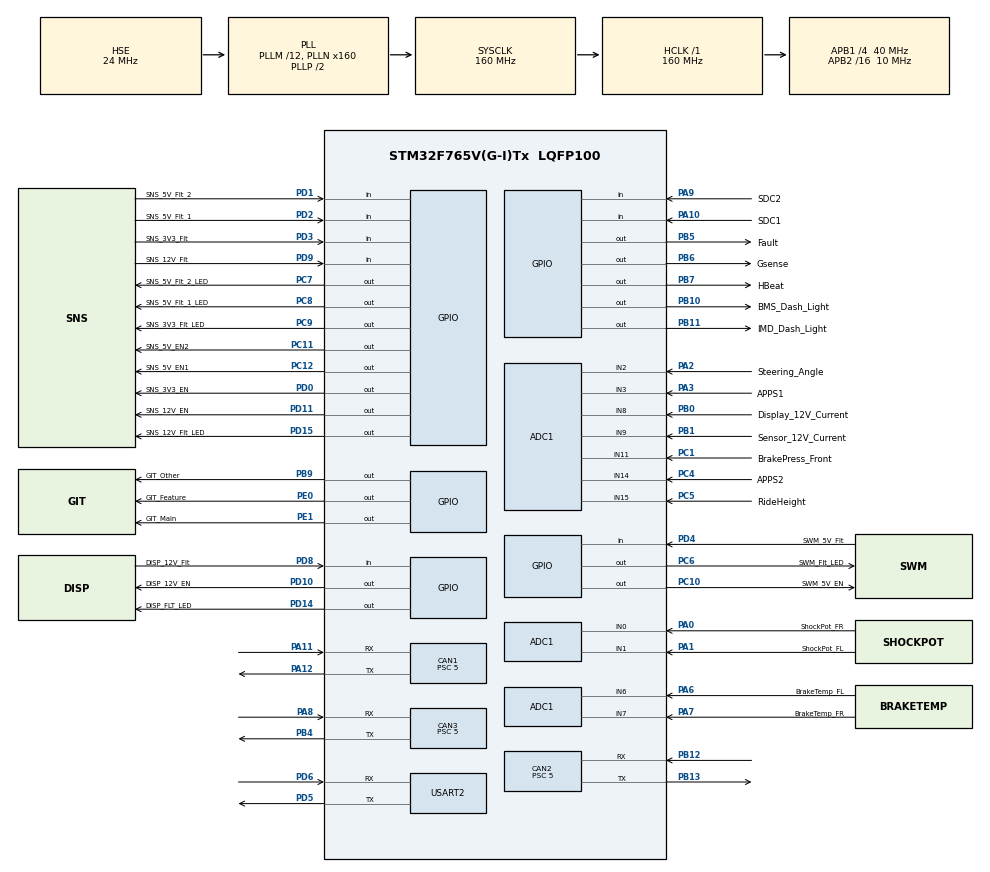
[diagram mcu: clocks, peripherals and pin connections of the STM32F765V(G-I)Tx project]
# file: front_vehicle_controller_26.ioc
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ADC1.Channel-10\#ChannelRegularConversion=ADC_CHANNEL_11
ADC1.Channel-11\#ChannelRegularConversion=ADC_CHANNEL_14
ADC1.Channel-12\#ChannelRegularConversion=ADC_CHANNEL_15
ADC1.Channel-2\#ChannelRegularConversion=ADC_CHANNEL_0
ADC1.Channel-3\#ChannelRegularConversion=ADC_CHANNEL_1
ADC1.Channel-4\#ChannelRegularConversion=ADC_CHANNEL_2
ADC1.Channel-5\#ChannelRegularConversion=ADC_CHANNEL_3
ADC1.Channel-6\#ChannelRegularConversion=ADC_CHANNEL_6
ADC1.Channel-7\#ChannelRegularConversion=ADC_CHANNEL_7
ADC1.Channel-8\#ChannelRegularConversion=ADC_CHANNEL_8
ADC1.Channel-9\#ChannelRegularConversion=ADC_CHANNEL_9
ADC1.ContinuousConvMode=ENABLE
ADC1.DMAContinuousRequests=ENABLE
ADC1.NbrOfConversion=11
ADC1.NbrOfConversionFlag=1
ADC1.Rank-10\#ChannelRegularConversion=9
ADC1.Rank-11\#ChannelRegularConversion=10
ADC1.Rank-12\#ChannelRegularConversion=11
ADC1.Rank-2\#ChannelRegularConversion=1
ADC1.Rank-3\#ChannelRegularConversion=2
ADC1.Rank-4\#ChannelRegularConversion=3
ADC1.Rank-5\#ChannelRegularConversion=4
ADC1.Rank-6\#ChannelRegularConversion=5
ADC1.Rank-7\#ChannelRegularConversion=6
ADC1.Rank-8\#ChannelRegularConversion=7
ADC1.Rank-9\#ChannelRegularConversion=8
ADC1.SamplingTime-10\#ChannelRegularConversion=ADC_SAMPLETIME_480CYCLES
ADC1.SamplingTime-11\#ChannelRegularConversion=ADC_SAMPLETIME_480CYCLES
ADC1.SamplingTime-12\#ChannelRegularConversion=ADC_SAMPLETIME_480CYCLES
ADC1.SamplingTime-2\#ChannelRegularConversion=ADC_SAMPLETIME_480CYCLES
ADC1.SamplingTime-3\#ChannelRegularConversion=ADC_SAMPLETIME_480CYCLES
ADC1.SamplingTime-4\#ChannelRegularConversion=ADC_SAMPLETIME_480CYCLES
ADC1.SamplingTime-5\#ChannelRegularConversion=ADC_SAMPLETIME_480CYCLES
ADC1.SamplingTime-6\#ChannelRegularConversion=ADC_SAMPLETIME_480CYCLES
ADC1.SamplingTime-7\#ChannelRegularConversion=ADC_SAMPLETIME_480CYCLES
ADC1.SamplingTime-8\#ChannelRegularConversion=ADC_SAMPLETIME_480CYCLES
ADC1.SamplingTime-9\#ChannelRegularConversion=ADC_SAMPLETIME_480CYCLES
ADC1.master=1
CAN1.BS1=CAN_BS1_6TQ
CAN1.CalculateBaudRate=1000000
CAN1.CalculateTimeBit=1000
CAN1.CalculateTimeQuantum=125.0
CAN1.Prescaler=5
CAN2.ABOM=ENABLE
CAN2.AWUM=ENABLE
CAN2.BS1=CAN_BS1_6TQ
CAN2.BS2=CAN_BS2_1TQ
CAN2.CalculateBaudRate=1000000
CAN2.CalculateTimeBit=1000
CAN2.CalculateTimeQuantum=125.0
CAN2.Prescaler=5
CAN3.ABOM=ENABLE
CAN3.AWUM=ENABLE
CAN3.BS1=CAN_BS1_6TQ
CAN3.CalculateBaudRate=1000000
CAN3.CalculateTimeBit=1000
CAN3.CalculateTimeQuantum=125.0
CAN3.Prescaler=5
CORTEX_M7.default_mode_Activation=1
Dma.ADC1.0.Direction=DMA_PERIPH_TO_MEMORY
Dma.ADC1.0.FIFOMode=DMA_FIFOMODE_DISABLE
Dma.ADC1.0.Instance=DMA2_Stream0
Dma.ADC1.0.MemDataAlignment=DMA_MDATAALIGN_HALFWORD
Dma.ADC1.0.MemInc=DMA_MINC_ENABLE
Dma.ADC1.0.Mode=DMA_CIRCULAR
Dma.ADC1.0.PeriphDataAlignment=DMA_PDATAALIGN_HALFWORD
Dma.ADC1.0.PeriphInc=DMA_PINC_DISABLE
Dma.ADC1.0.Priority=DMA_PRIORITY_LOW
Dma.Request0=ADC1
FREERTOS.Mutexes01=fvcDriveSensorsMutex,Static,fvcDriveSensorsMutexControlBlock,Available;driveSnapshotMutex,Static,driveSnapshotMutexControlBlock,Available
FREERTOS.Tasks01=idleTask,-3,256,idleTask_entry,Default,NULL,Static,idleTaskBuffer,idleTaskControlBlock;gcanTask,1,1024,gcan_buffer_task,Default,NULL,Static,gcanTaskBuffer,gcanTaskControlBlock;debugTask,-1,2048,debugTask_entry,Default,NULL,Static,debugTaskBuffer,debugTaskControlBlock;driveTask,2,2048,driveTask_entry,Default,NULL,Static,driveTaskBuffer,driveTaskControlBlock;faultTask,0,1024,faultTask_entry,Default,NULL,Static,faultTaskBuffer,faultTaskControlBlock;telemetryTask,1,2048,telemetryTask_entry,Default,NULL,Static,telemetryTaskBuffer,telemetryTaskControlBlock
FREERTOS.configENABLE_FPU=1
Mcu.Family=STM32F7
Mcu.Name=STM32F765V(G-I)Tx
Mcu.Package=LQFP100
NVIC.CAN1_RX0_IRQn=true\:5\:0\:false\:false\:true\:true\:true\:true\:true
NVIC.CAN1_RX1_IRQn=true\:5\:0\:false\:false\:true\:true\:true\:true\:true
NVIC.CAN1_TX_IRQn=true\:5\:0\:false\:false\:true\:true\:true\:true\:true
NVIC.CAN2_RX0_IRQn=true\:5\:0\:false\:false\:true\:true\:true\:true\:true
NVIC.CAN2_RX1_IRQn=true\:5\:0\:false\:false\:true\:true\:true\:true\:true
NVIC.CAN2_TX_IRQn=true\:5\:0\:false\:false\:true\:true\:true\:true\:true
NVIC.CAN3_RX0_IRQn=true\:5\:0\:false\:false\:true\:true\:true\:true\:true
NVIC.CAN3_RX1_IRQn=true\:5\:0\:false\:false\:true\:true\:true\:true\:true
NVIC.CAN3_TX_IRQn=true\:5\:0\:false\:false\:true\:true\:true\:true\:true
NVIC.DMA2_Stream0_IRQn=true\:5\:0\:false\:false\:true\:true\:false\:true\:true
NVIC.PriorityGroup=NVIC_PRIORITYGROUP_4
NVIC.TIM1_UP_TIM10_IRQn=true\:5\:0\:false\:false\:true\:true\:true\:true\:true
NVIC.TIM6_DAC_IRQn=true\:15\:0\:false\:false\:true\:false\:false\:true\:true
NVIC.TimeBase=TIM6_DAC_IRQn
NVIC.TimeBaseIP=TIM6
PA0/WKUP.GPIO_Label=ShockPot_FR
PA0/WKUP.Signal=ADCx_IN0
PA1.GPIO_Label=ShockPot_FL
PA1.Signal=ADCx_IN1
PA10.GPIO_Label=SDC1
PA10.Signal=GPIO_Input
PA11.Mode=CAN_Activate
PA11.Signal=CAN1_RX
PA12.Mode=CAN_Activate
PA12.Signal=CAN1_TX
PA13.Mode=Serial_Wire
PA13.Signal=SYS_JTMS-SWDIO
PA14.Mode=Serial_Wire
PA14.Signal=SYS_JTCK-SWCLK
PA2.GPIO_Label=Steering_Angle
PA2.Signal=ADCx_IN2
PA3.GPIO_Label=APPS1
PA3.Signal=ADCx_IN3
PA6.GPIO_Label=BrakeTemp_FL
PA6.Signal=ADCx_IN6
PA7.GPIO_Label=BrakeTemp_FR
PA7.Signal=ADCx_IN7
PA8.Mode=CAN_Activate
PA8.Signal=CAN3_RX
PA9.GPIO_Label=SDC2
PA9.Signal=GPIO_Input
PB0.GPIO_Label=Display_12V_Current
PB0.Signal=ADCx_IN8
PB1.GPIO_Label=Sensor_12V_Current
PB1.Signal=ADCx_IN9
PB10.GPIO_Label=BMS_Dash_Light
PB10.Signal=GPIO_Output
PB11.GPIO_Label=IMD_Dash_Light
PB11.Signal=GPIO_Output
PB12.Mode=CAN_Activate
PB12.Signal=CAN2_RX
PB13.Mode=CAN_Activate
PB13.Signal=CAN2_TX
PB4.Mode=CAN_Activate
PB4.Signal=CAN3_TX
PB5.GPIO_Label=Fault
PB5.Signal=GPIO_Output
PB6.GPIO_Label=Gsense
PB6.Signal=GPIO_Output
PB7.GPIO_Label=HBeat
PB7.Signal=GPIO_Output
PB9.GPIO_Label=GIT_Other
PB9.Signal=GPIO_Output
PC1.GPIO_Label=BrakePress_Front
PC1.Signal=ADCx_IN11
PC10.GPIO_Label=SWM_5V_EN
PC10.Signal=GPIO_Output
PC11.GPIO_Label=SNS_5V_EN2
PC11.Signal=GPIO_Output
PC12.GPIO_Label=SNS_5V_EN1
PC12.Signal=GPIO_Output
PC4.GPIO_Label=APPS2
PC4.Signal=ADCx_IN14
PC5.GPIO_Label=RideHeight
PC5.Signal=ADCx_IN15
PC6.GPIO_Label=SWM_Flt_LED
PC6.Signal=GPIO_Output
PC7.GPIO_Label=SNS_5V_Flt_2_LED
PC7.Signal=GPIO_Output
PC8.GPIO_Label=SNS_5V_Flt_1_LED
PC8.Signal=GPIO_Output
PC9.GPIO_Label=SNS_3V3_Flt_LED
PC9.Signal=GPIO_Output
PD0.GPIO_Label=SNS_3V3_EN
PD0.Signal=GPIO_Output
PD1.GPIO_Label=SNS_5V_Flt_2
PD1.Signal=GPIO_Input
PD10.GPIO_Label=DISP_12V_EN
PD10.Signal=GPIO_Output
PD11.GPIO_Label=SNS_12V_EN
PD11.Signal=GPIO_Output
PD14.GPIO_Label=DISP_FLT_LED
PD14.Signal=GPIO_Output
PD15.GPIO_Label=SNS_12V_Flt_LED
PD15.Signal=GPIO_Output
PD2.GPIO_Label=SNS_5V_Flt_1
PD2.Signal=GPIO_Input
PD3.GPIO_Label=SNS_3V3_Flt
PD3.Signal=GPIO_Input
PD4.GPIO_Label=SWM_5V_Flt
PD4.Signal=GPIO_Input
PD5.Mode=Asynchronous
PD5.Signal=USART2_TX
PD6.Mode=Asynchronous
PD6.Signal=USART2_RX
PD8.GPIO_Label=DISP_12V_Flt
PD8.Signal=GPIO_Input
PD9.GPIO_Label=SNS_12V_Flt
PD9.Signal=GPIO_Input
PE0.GPIO_Label=GIT_Feature
PE0.Signal=GPIO_Output
PE1.GPIO_Label=GIT_Main
PE1.Signal=GPIO_Output
PH0/OSC_IN.Mode=HSE-External-Clock-Source
PH0/OSC_IN.Signal=RCC_OSC_IN
PH1/OSC_OUT.Mode=HSE-External-Clock-Source
PH1/OSC_OUT.Signal=RCC_OSC_OUT
ProjectManager.HeapSize=0x200
ProjectManager.StackSize=0x400
ProjectManager.TargetToolchain=CMake
RCC.AHBFreq_Value=160000000
RCC.APB1CLKDivider=RCC_HCLK_DIV4
RCC.APB1Freq_Value=40000000
RCC.APB1TimFreq_Value=80000000
RCC.APB2CLKDivider=RCC_HCLK_DIV16
RCC.APB2Freq_Value=10000000
RCC.APB2TimFreq_Value=20000000
RCC.CortexFreq_Value=160000000
RCC.HCLKFreq_Value=160000000
RCC.HSE_VALUE=24000000
RCC.HSI_VALUE=16000000
RCC.LSE_VALUE=32768
RCC.PLLM=12
RCC.PLLN=160
RCC.PLLSourceVirtual=RCC_PLLSOURCE_HSE
RCC.SYSCLKFreq_VALUE=160000000
RCC.SYSCLKSource=RCC_SYSCLKSOURCE_PLLCLK
RCC.USBFreq_Value=160000000
RCC.VCOOutputFreq_Value=320000000
SH.ADCx_IN0.0=ADC1_IN0,IN0
SH.ADCx_IN1.0=ADC1_IN1,IN1
SH.ADCx_IN11.0=ADC1_IN11,IN11
SH.ADCx_IN14.0=ADC1_IN14,IN14
SH.ADCx_IN15.0=ADC1_IN15,IN15
SH.ADCx_IN2.0=ADC1_IN2,IN2
SH.ADCx_IN3.0=ADC1_IN3,IN3
SH.ADCx_IN6.0=ADC1_IN6,IN6
SH.ADCx_IN7.0=ADC1_IN7,IN7
SH.ADCx_IN8.0=ADC1_IN8,IN8
SH.ADCx_IN9.0=ADC1_IN9,IN9
USART2.VirtualMode-Asynchronous=VM_ASYNC
VP_FREERTOS_VS_CMSIS_V1.Mode=CMSIS_V1
VP_SYS_VS_tim6.Mode=TIM6
VP_TIM10_VS_ClockSourceINT.Mode=Enable_Timer
board=custom

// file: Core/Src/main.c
/* USER CODE BEGIN Header */
/**
  ******************************************************************************
  * @file           : main.c
  * @brief          : Main program body
  ******************************************************************************
  * @attention
  *
  * Copyright (c) 2025 STMicroelectronics.
  * All rights reserved.
  *
  * This software is licensed under terms that can be found in the LICENSE file
  * in the root directory of this software component.
  * If no LICENSE file comes with this software, it is provided AS-IS.
  *
  ******************************************************************************
  */
/* USER CODE END Header */
#include "main.h"
#include "cmsis_os.h"

/* USER CODE BEGIN Includes */
#include "fvc.h"
#include "GopherCAN.h"
#include "gopher_sense.h"
/* USER CODE END Includes */

ADC_HandleTypeDef hadc1;
DMA_HandleTypeDef hdma_adc1;

CAN_HandleTypeDef hcan1;
CAN_HandleTypeDef hcan2;
CAN_HandleTypeDef hcan3;

TIM_HandleTypeDef htim10;

UART_HandleTypeDef huart2;

osThreadId idleTaskHandle;
uint32_t idleTaskBuffer[ 256 ];
osStaticThreadDef_t idleTaskControlBlock;
osThreadId gcanTaskHandle;
uint32_t gcanTaskBuffer[ 1024 ];
osStaticThreadDef_t gcanTaskControlBlock;
osThreadId debugTaskHandle;
uint32_t debugTaskBuffer[ 2048 ];
osStaticThreadDef_t debugTaskControlBlock;
osThreadId driveTaskHandle;
uint32_t driveTaskBuffer[ 2048 ];
osStaticThreadDef_t driveTaskControlBlock;
osThreadId faultTaskHandle;
uint32_t faultTaskBuffer[ 1024 ];
osStaticThreadDef_t faultTaskControlBlock;
osThreadId telemetryTaskHandle;
uint32_t telemetryTaskBuffer[ 2048 ];
osStaticThreadDef_t telemetryTaskControlBlock;
osMutexId fvcDriveSensorsMutexHandle;
osStaticMutexDef_t fvcDriveSensorsMutexControlBlock;
osMutexId driveSnapshotMutexHandle;
osStaticMutexDef_t driveSnapshotMutexControlBlock;

void SystemClock_Config(void);
static void MPU_Config(void);
static void MX_GPIO_Init(void);
static void MX_DMA_Init(void);
static void MX_ADC1_Init(void);
static void MX_CAN2_Init(void);
static void MX_TIM10_Init(void);
static void MX_USART2_UART_Init(void);
static void MX_CAN1_Init(void);
static void MX_CAN3_Init(void);
void idleTask_entry(void const * argument);
void gcan_buffer_task(void const * argument);
void debugTask_entry(void const * argument);
void driveTask_entry(void const * argument);
void faultTask_entry(void const * argument);
void telemetryTask_entry(void const * argument);

int main(void)
{

  /* MPU Configuration--------------------------------------------------------*/
  MPU_Config();

  /* MCU Configuration--------------------------------------------------------*/

  /* Reset of all peripherals, Initializes the Flash interface and the Systick. */
  HAL_Init();

  /* Configure the system clock */
  SystemClock_Config();

  /* Initialize all configured peripherals */
  MX_GPIO_Init();
  MX_DMA_Init();
  MX_ADC1_Init();
  MX_CAN2_Init();
  MX_TIM10_Init();
  MX_USART2_UART_Init();
  MX_CAN1_Init();
  MX_CAN3_Init();
  /* USER CODE BEGIN 2 */
  init_fvc(&hcan1, &hcan2, &hcan3, &huart2);
  gsense_init(&hcan2, &hadc1, NULL, NULL, &htim10, Gsense_GPIO_Port, Gsense_Pin);
  /* USER CODE END 2 */

  /* Create the mutex(es) */
  /* definition and creation of fvcDriveSensorsMutex */
  osMutexStaticDef(fvcDriveSensorsMutex, &fvcDriveSensorsMutexControlBlock);
  fvcDriveSensorsMutexHandle = osMutexCreate(osMutex(fvcDriveSensorsMutex));

  /* definition and creation of driveSnapshotMutex */
  osMutexStaticDef(driveSnapshotMutex, &driveSnapshotMutexControlBlock);
  driveSnapshotMutexHandle = osMutexCreate(osMutex(driveSnapshotMutex));

  /* Create the thread(s) */
  /* definition and creation of idleTask */
  osThreadStaticDef(idleTask, idleTask_entry, osPriorityIdle, 0, 256, idleTaskBuffer, &idleTaskControlBlock);
  idleTaskHandle = osThreadCreate(osThread(idleTask), NULL);

  /* definition and creation of gcanTask */
  osThreadStaticDef(gcanTask, gcan_buffer_task, osPriorityAboveNormal, 0, 1024, gcanTaskBuffer, &gcanTaskControlBlock);
  gcanTaskHandle = osThreadCreate(osThread(gcanTask), NULL);

  /* definition and creation of debugTask */
  osThreadStaticDef(debugTask, debugTask_entry, osPriorityBelowNormal, 0, 2048, debugTaskBuffer, &debugTaskControlBlock);
  debugTaskHandle = osThreadCreate(osThread(debugTask), NULL);

  /* definition and creation of driveTask */
  osThreadStaticDef(driveTask, driveTask_entry, osPriorityHigh, 0, 2048, driveTaskBuffer, &driveTaskControlBlock);
  driveTaskHandle = osThreadCreate(osThread(driveTask), NULL);

  /* definition and creation of faultTask */
  osThreadStaticDef(faultTask, faultTask_entry, osPriorityNormal, 0, 1024, faultTaskBuffer, &faultTaskControlBlock);
  faultTaskHandle = osThreadCreate(osThread(faultTask), NULL);

  /* definition and creation of telemetryTask */
  osThreadStaticDef(telemetryTask, telemetryTask_entry, osPriorityAboveNormal, 0, 2048, telemetryTaskBuffer, &telemetryTaskControlBlock);
  telemetryTaskHandle = osThreadCreate(osThread(telemetryTask), NULL);

  /* Start scheduler */
  osKernelStart();

  /* We should never get here as control is now taken by the scheduler */

  /* Infinite loop */
  while (1)
  {

  }
}

void SystemClock_Config(void)
{
  RCC_OscInitTypeDef RCC_OscInitStruct = {0};
  RCC_ClkInitTypeDef RCC_ClkInitStruct = {0};

  /** Configure the main internal regulator output voltage
  */
  __HAL_RCC_PWR_CLK_ENABLE();
  __HAL_PWR_VOLTAGESCALING_CONFIG(PWR_REGULATOR_VOLTAGE_SCALE2);

  /** Initializes the RCC Oscillators according to the specified parameters
  * in the RCC_OscInitTypeDef structure.
  */
  RCC_OscInitStruct.OscillatorType = RCC_OSCILLATORTYPE_HSE;
  RCC_OscInitStruct.HSEState = RCC_HSE_BYPASS;
  RCC_OscInitStruct.PLL.PLLState = RCC_PLL_ON;
  RCC_OscInitStruct.PLL.PLLSource = RCC_PLLSOURCE_HSE;
  RCC_OscInitStruct.PLL.PLLM = 12;
  RCC_OscInitStruct.PLL.PLLN = 160;
  RCC_OscInitStruct.PLL.PLLP = RCC_PLLP_DIV2;
  RCC_OscInitStruct.PLL.PLLQ = 2;
  RCC_OscInitStruct.PLL.PLLR = 2;
  if (HAL_RCC_OscConfig(&RCC_OscInitStruct) != HAL_OK)
  {
    Error_Handler();
  }

  /** Initializes the CPU, AHB and APB buses clocks
  */
  RCC_ClkInitStruct.ClockType = RCC_CLOCKTYPE_HCLK|RCC_CLOCKTYPE_SYSCLK
                              |RCC_CLOCKTYPE_PCLK1|RCC_CLOCKTYPE_PCLK2;
  RCC_ClkInitStruct.SYSCLKSource = RCC_SYSCLKSOURCE_PLLCLK;
  RCC_ClkInitStruct.AHBCLKDivider = RCC_SYSCLK_DIV1;
  RCC_ClkInitStruct.APB1CLKDivider = RCC_HCLK_DIV4;
  RCC_ClkInitStruct.APB2CLKDivider = RCC_HCLK_DIV16;

  if (HAL_RCC_ClockConfig(&RCC_ClkInitStruct, FLASH_LATENCY_5) != HAL_OK)
  {
    Error_Handler();
  }
}

static void MX_ADC1_Init(void)
{

  ADC_ChannelConfTypeDef sConfig = {0};

  /** Configure the global features of the ADC (Clock, Resolution, Data Alignment and number of conversion)
  */
  hadc1.Instance = ADC1;
  hadc1.Init.ClockPrescaler = ADC_CLOCK_SYNC_PCLK_DIV2;
  hadc1.Init.Resolution = ADC_RESOLUTION_12B;
  hadc1.Init.ScanConvMode = ADC_SCAN_ENABLE;
  hadc1.Init.ContinuousConvMode = ENABLE;
  hadc1.Init.DiscontinuousConvMode = DISABLE;
  hadc1.Init.ExternalTrigConvEdge = ADC_EXTERNALTRIGCONVEDGE_NONE;
  hadc1.Init.ExternalTrigConv = ADC_SOFTWARE_START;
  hadc1.Init.DataAlign = ADC_DATAALIGN_RIGHT;
  hadc1.Init.NbrOfConversion = 11;
  hadc1.Init.DMAContinuousRequests = ENABLE;
  hadc1.Init.EOCSelection = ADC_EOC_SINGLE_CONV;
  if (HAL_ADC_Init(&hadc1) != HAL_OK)
  {
    Error_Handler();
  }

  /** Configure for the selected ADC regular channel its corresponding rank in the sequencer and its sample time.
  */
  sConfig.Channel = ADC_CHANNEL_0;
  sConfig.Rank = ADC_REGULAR_RANK_1;
  sConfig.SamplingTime = ADC_SAMPLETIME_480CYCLES;
  if (HAL_ADC_ConfigChannel(&hadc1, &sConfig) != HAL_OK)
  {
    Error_Handler();
  }

  /** Configure for the selected ADC regular channel its corresponding rank in the sequencer and its sample time.
  */
  sConfig.Channel = ADC_CHANNEL_1;
  sConfig.Rank = ADC_REGULAR_RANK_2;
  if (HAL_ADC_ConfigChannel(&hadc1, &sConfig) != HAL_OK)
  {
    Error_Handler();
  }

  /** Configure for the selected ADC regular channel its corresponding rank in the sequencer and its sample time.
  */
  sConfig.Channel = ADC_CHANNEL_2;
  sConfig.Rank = ADC_REGULAR_RANK_3;
  if (HAL_ADC_ConfigChannel(&hadc1, &sConfig) != HAL_OK)
  {
    Error_Handler();
  }

  /** Configure for the selected ADC regular channel its corresponding rank in the sequencer and its sample time.
  */
  sConfig.Channel = ADC_CHANNEL_3;
  sConfig.Rank = ADC_REGULAR_RANK_4;
  if (HAL_ADC_ConfigChannel(&hadc1, &sConfig) != HAL_OK)
  {
    Error_Handler();
  }

  /** Configure for the selected ADC regular channel its corresponding rank in the sequencer and its sample time.
  */
  sConfig.Channel = ADC_CHANNEL_6;
  sConfig.Rank = ADC_REGULAR_RANK_5;
  if (HAL_ADC_ConfigChannel(&hadc1, &sConfig) != HAL_OK)
  {
    Error_Handler();
  }

  /** Configure for the selected ADC regular channel its corresponding rank in the sequencer and its sample time.
  */
  sConfig.Channel = ADC_CHANNEL_7;
  sConfig.Rank = ADC_REGULAR_RANK_6;
  if (HAL_ADC_ConfigChannel(&hadc1, &sConfig) != HAL_OK)
  {
    Error_Handler();
  }

  /** Configure for the selected ADC regular channel its corresponding rank in the sequencer and its sample time.
  */
  sConfig.Channel = ADC_CHANNEL_8;
  sConfig.Rank = ADC_REGULAR_RANK_7;
  if (HAL_ADC_ConfigChannel(&hadc1, &sConfig) != HAL_OK)
  {
    Error_Handler();
  }

  /** Configure for the selected ADC regular channel its corresponding rank in the sequencer and its sample time.
  */
  sConfig.Channel = ADC_CHANNEL_9;
  sConfig.Rank = ADC_REGULAR_RANK_8;
  if (HAL_ADC_ConfigChannel(&hadc1, &sConfig) != HAL_OK)
  {
    Error_Handler();
  }

  /** Configure for the selected ADC regular channel its corresponding rank in the sequencer and its sample time.
  */
  sConfig.Channel = ADC_CHANNEL_11;
  sConfig.Rank = ADC_REGULAR_RANK_9;
  if (HAL_ADC_ConfigChannel(&hadc1, &sConfig) != HAL_OK)
  {
    Error_Handler();
  }

  /** Configure for the selected ADC regular channel its corresponding rank in the sequencer and its sample time.
  */
  sConfig.Channel = ADC_CHANNEL_14;
  sConfig.Rank = ADC_REGULAR_RANK_10;
  if (HAL_ADC_ConfigChannel(&hadc1, &sConfig) != HAL_OK)
  {
    Error_Handler();
  }

  /** Configure for the selected ADC regular channel its corresponding rank in the sequencer and its sample time.
  */
  sConfig.Channel = ADC_CHANNEL_15;
  sConfig.Rank = ADC_REGULAR_RANK_11;
  if (HAL_ADC_ConfigChannel(&hadc1, &sConfig) != HAL_OK)
  {
    Error_Handler();
  }

}

static void MX_CAN1_Init(void)
{

  hcan1.Instance = CAN1;
  hcan1.Init.Prescaler = 5;
  hcan1.Init.Mode = CAN_MODE_NORMAL;
  hcan1.Init.SyncJumpWidth = CAN_SJW_1TQ;
  hcan1.Init.TimeSeg1 = CAN_BS1_6TQ;
  hcan1.Init.TimeSeg2 = CAN_BS2_1TQ;
  hcan1.Init.TimeTriggeredMode = DISABLE;
  hcan1.Init.AutoBusOff = DISABLE;
  hcan1.Init.AutoWakeUp = DISABLE;
  hcan1.Init.AutoRetransmission = DISABLE;
  hcan1.Init.ReceiveFifoLocked = DISABLE;
  hcan1.Init.TransmitFifoPriority = DISABLE;
  if (HAL_CAN_Init(&hcan1) != HAL_OK)
  {
    Error_Handler();
  }

}

static void MX_CAN2_Init(void)
{

  hcan2.Instance = CAN2;
  hcan2.Init.Prescaler = 5;
  hcan2.Init.Mode = CAN_MODE_NORMAL;
  hcan2.Init.SyncJumpWidth = CAN_SJW_1TQ;
  hcan2.Init.TimeSeg1 = CAN_BS1_6TQ;
  hcan2.Init.TimeSeg2 = CAN_BS2_1TQ;
  hcan2.Init.TimeTriggeredMode = DISABLE;
  hcan2.Init.AutoBusOff = ENABLE;
  hcan2.Init.AutoWakeUp = ENABLE;
  hcan2.Init.AutoRetransmission = DISABLE;
  hcan2.Init.ReceiveFifoLocked = DISABLE;
  hcan2.Init.TransmitFifoPriority = DISABLE;
  if (HAL_CAN_Init(&hcan2) != HAL_OK)
  {
    Error_Handler();
  }

}

static void MX_CAN3_Init(void)
{

  hcan3.Instance = CAN3;
  hcan3.Init.Prescaler = 5;
  hcan3.Init.Mode = CAN_MODE_NORMAL;
  hcan3.Init.SyncJumpWidth = CAN_SJW_1TQ;
  hcan3.Init.TimeSeg1 = CAN_BS1_6TQ;
  hcan3.Init.TimeSeg2 = CAN_BS2_1TQ;
  hcan3.Init.TimeTriggeredMode = DISABLE;
  hcan3.Init.AutoBusOff = ENABLE;
  hcan3.Init.AutoWakeUp = ENABLE;
  hcan3.Init.AutoRetransmission = DISABLE;
  hcan3.Init.ReceiveFifoLocked = DISABLE;
  hcan3.Init.TransmitFifoPriority = DISABLE;
  if (HAL_CAN_Init(&hcan3) != HAL_OK)
  {
    Error_Handler();
  }

}

static void MX_TIM10_Init(void)
{

  htim10.Instance = TIM10;
  htim10.Init.Prescaler = 0;
  htim10.Init.CounterMode = TIM_COUNTERMODE_UP;
  htim10.Init.Period = 65535;
  htim10.Init.ClockDivision = TIM_CLOCKDIVISION_DIV1;
  htim10.Init.AutoReloadPreload = TIM_AUTORELOAD_PRELOAD_DISABLE;
  if (HAL_TIM_Base_Init(&htim10) != HAL_OK)
  {
    Error_Handler();
  }

}

static void MX_USART2_UART_Init(void)
{

  huart2.Instance = USART2;
  huart2.Init.BaudRate = 115200;
  huart2.Init.WordLength = UART_WORDLENGTH_8B;
  huart2.Init.StopBits = UART_STOPBITS_1;
  huart2.Init.Parity = UART_PARITY_NONE;
  huart2.Init.Mode = UART_MODE_TX_RX;
  huart2.Init.HwFlowCtl = UART_HWCONTROL_NONE;
  huart2.Init.OverSampling = UART_OVERSAMPLING_16;
  huart2.Init.OneBitSampling = UART_ONE_BIT_SAMPLE_DISABLE;
  huart2.AdvancedInit.AdvFeatureInit = UART_ADVFEATURE_NO_INIT;
  if (HAL_UART_Init(&huart2) != HAL_OK)
  {
    Error_Handler();
  }

}

static void MX_DMA_Init(void)
{

  /* DMA controller clock enable */
  __HAL_RCC_DMA2_CLK_ENABLE();

  /* DMA interrupt init */
  /* DMA2_Stream0_IRQn interrupt configuration */
  HAL_NVIC_SetPriority(DMA2_Stream0_IRQn, 5, 0);
  HAL_NVIC_EnableIRQ(DMA2_Stream0_IRQn);

}

static void MX_GPIO_Init(void)
{
  GPIO_InitTypeDef GPIO_InitStruct = {0};

  /* GPIO Ports Clock Enable */
  __HAL_RCC_GPIOH_CLK_ENABLE();
  __HAL_RCC_GPIOC_CLK_ENABLE();
  __HAL_RCC_GPIOA_CLK_ENABLE();
  __HAL_RCC_GPIOB_CLK_ENABLE();
  __HAL_RCC_GPIOD_CLK_ENABLE();
  __HAL_RCC_GPIOE_CLK_ENABLE();

  /*Configure GPIO pin Output Level */
  HAL_GPIO_WritePin(GPIOB, BMS_Dash_Light_Pin|IMD_Dash_Light_Pin|Fault_Pin|Gsense_Pin
                          |HBeat_Pin|GIT_Other_Pin, GPIO_PIN_RESET);

  /*Configure GPIO pin Output Level */
  HAL_GPIO_WritePin(GPIOD, DISP_12V_EN_Pin|SNS_12V_EN_Pin|DISP_FLT_LED_Pin|SNS_12V_Flt_LED_Pin
                          |SNS_3V3_EN_Pin, GPIO_PIN_RESET);

  /*Configure GPIO pin Output Level */
  HAL_GPIO_WritePin(GPIOC, SWM_Flt_LED_Pin|SNS_5V_Flt_2_LED_Pin|SNS_5V_Flt_1_LED_Pin|SNS_3V3_Flt_LED_Pin
                          |SWM_5V_EN_Pin|SNS_5V_EN2_Pin|SNS_5V_EN1_Pin, GPIO_PIN_RESET);

  /*Configure GPIO pin Output Level */
  HAL_GPIO_WritePin(GPIOE, GIT_Feature_Pin|GIT_Main_Pin, GPIO_PIN_RESET);

  /*Configure GPIO pins : BMS_Dash_Light_Pin IMD_Dash_Light_Pin Fault_Pin Gsense_Pin
                           HBeat_Pin GIT_Other_Pin */
  GPIO_InitStruct.Pin = BMS_Dash_Light_Pin|IMD_Dash_Light_Pin|Fault_Pin|Gsense_Pin
                          |HBeat_Pin|GIT_Other_Pin;
  GPIO_InitStruct.Mode = GPIO_MODE_OUTPUT_PP;
  GPIO_InitStruct.Pull = GPIO_NOPULL;
  GPIO_InitStruct.Speed = GPIO_SPEED_FREQ_LOW;
  HAL_GPIO_Init(GPIOB, &GPIO_InitStruct);

  /*Configure GPIO pins : DISP_12V_Flt_Pin SNS_12V_Flt_Pin SNS_5V_Flt_2_Pin SNS_5V_Flt_1_Pin
                           SNS_3V3_Flt_Pin SWM_5V_Flt_Pin */
  GPIO_InitStruct.Pin = DISP_12V_Flt_Pin|SNS_12V_Flt_Pin|SNS_5V_Flt_2_Pin|SNS_5V_Flt_1_Pin
                          |SNS_3V3_Flt_Pin|SWM_5V_Flt_Pin;
  GPIO_InitStruct.Mode = GPIO_MODE_INPUT;
  GPIO_InitStruct.Pull = GPIO_NOPULL;
  HAL_GPIO_Init(GPIOD, &GPIO_InitStruct);

  /*Configure GPIO pins : DISP_12V_EN_Pin SNS_12V_EN_Pin DISP_FLT_LED_Pin SNS_12V_Flt_LED_Pin
                           SNS_3V3_EN_Pin */
  GPIO_InitStruct.Pin = DISP_12V_EN_Pin|SNS_12V_EN_Pin|DISP_FLT_LED_Pin|SNS_12V_Flt_LED_Pin
                          |SNS_3V3_EN_Pin;
  GPIO_InitStruct.Mode = GPIO_MODE_OUTPUT_PP;
  GPIO_InitStruct.Pull = GPIO_NOPULL;
  GPIO_InitStruct.Speed = GPIO_SPEED_FREQ_LOW;
  HAL_GPIO_Init(GPIOD, &GPIO_InitStruct);

  /*Configure GPIO pins : SWM_Flt_LED_Pin SNS_5V_Flt_2_LED_Pin SNS_5V_Flt_1_LED_Pin SNS_3V3_Flt_LED_Pin
                           SWM_5V_EN_Pin SNS_5V_EN2_Pin SNS_5V_EN1_Pin */
  GPIO_InitStruct.Pin = SWM_Flt_LED_Pin|SNS_5V_Flt_2_LED_Pin|SNS_5V_Flt_1_LED_Pin|SNS_3V3_Flt_LED_Pin
                          |SWM_5V_EN_Pin|SNS_5V_EN2_Pin|SNS_5V_EN1_Pin;
  GPIO_InitStruct.Mode = GPIO_MODE_OUTPUT_PP;
  GPIO_InitStruct.Pull = GPIO_NOPULL;
  GPIO_InitStruct.Speed = GPIO_SPEED_FREQ_LOW;
  HAL_GPIO_Init(GPIOC, &GPIO_InitStruct);

  /*Configure GPIO pins : SDC2_Pin SDC1_Pin */
  GPIO_InitStruct.Pin = SDC2_Pin|SDC1_Pin;
  GPIO_InitStruct.Mode = GPIO_MODE_INPUT;
  GPIO_InitStruct.Pull = GPIO_NOPULL;
  HAL_GPIO_Init(GPIOA, &GPIO_InitStruct);

  /*Configure GPIO pins : GIT_Feature_Pin GIT_Main_Pin */
  GPIO_InitStruct.Pin = GIT_Feature_Pin|GIT_Main_Pin;
  GPIO_InitStruct.Mode = GPIO_MODE_OUTPUT_PP;
  GPIO_InitStruct.Pull = GPIO_NOPULL;
  GPIO_InitStruct.Speed = GPIO_SPEED_FREQ_LOW;
  HAL_GPIO_Init(GPIOE, &GPIO_InitStruct);

}

void idleTask_entry(void const * argument)
{
  /* USER CODE BEGIN 5 */
  /* Infinite loop */
  for(;;)
  {
    idle_task();
    osDelay(IDLE_TASK_PERIOD_ms);
  }
  /* USER CODE END 5 */
}

void gcan_buffer_task(void const * argument)
{
  /* USER CODE BEGIN gcan_buffer_task */
  /* Infinite loop */
  for(;;)
  {
    can_buffer_handling_loop();
    osDelay(GCAN_BUFFER_TASK_PERIOD_ms);
  }
  /* USER CODE END gcan_buffer_task */
}

void debugTask_entry(void const * argument)
{
  /* USER CODE BEGIN debugTask_entry */
  /* Infinite loop */
  for(;;)
  {
    debug_task();
    osDelay(DEBUG_TASK_PERIOD_ms);
  }
  /* USER CODE END debugTask_entry */
}

void driveTask_entry(void const * argument)
{
  /* USER CODE BEGIN driveTask_entry */
  /* Infinite loop */
  for(;;)
  {
    drive_task();
    osDelay(DRIVE_TASK_PERIOD_ms);
  }
  /* USER CODE END driveTask_entry */
}

void faultTask_entry(void const * argument)
{
  /* USER CODE BEGIN faultTask_entry */
  /* Infinite loop */
  for(;;)
  {
    fault_task();
    osDelay(FAULT_TASK_PERIOD_ms);
  }
  /* USER CODE END faultTask_entry */
}

void telemetryTask_entry(void const * argument)
{
  /* USER CODE BEGIN telemetryTask_entry */
  /* Infinite loop */
  for(;;)
  {
    telemetry_task();
    osDelay(TELEMETRY_TASK_PERIOD_ms);
  }
  /* USER CODE END telemetryTask_entry */
}

 /* MPU Configuration */

void MPU_Config(void)
{
  MPU_Region_InitTypeDef MPU_InitStruct = {0};

  /* Disables the MPU */
  HAL_MPU_Disable();

  /** Initializes and configures the Region and the memory to be protected
  */
  MPU_InitStruct.Enable = MPU_REGION_ENABLE;
  MPU_InitStruct.Number = MPU_REGION_NUMBER0;
  MPU_InitStruct.BaseAddress = 0x0;
  MPU_InitStruct.Size = MPU_REGION_SIZE_4GB;
  MPU_InitStruct.SubRegionDisable = 0x87;
  MPU_InitStruct.TypeExtField = MPU_TEX_LEVEL0;
  MPU_InitStruct.AccessPermission = MPU_REGION_NO_ACCESS;
  MPU_InitStruct.DisableExec = MPU_INSTRUCTION_ACCESS_DISABLE;
  MPU_InitStruct.IsShareable = MPU_ACCESS_SHAREABLE;
  MPU_InitStruct.IsCacheable = MPU_ACCESS_NOT_CACHEABLE;
  MPU_InitStruct.IsBufferable = MPU_ACCESS_NOT_BUFFERABLE;

  HAL_MPU_ConfigRegion(&MPU_InitStruct);
  /* Enables the MPU */
  HAL_MPU_Enable(MPU_PRIVILEGED_DEFAULT);

}

void HAL_TIM_PeriodElapsedCallback(TIM_HandleTypeDef *htim)
{
  if (htim->Instance == TIM6) {
    HAL_IncTick();
  }
  /* USER CODE BEGIN Callback 1 */
  else if(htim->Instance == TIM10) {
  	  DAQ_TimerCallback(&htim10);
  }
  /* USER CODE END Callback 1 */
}

void Error_Handler(void)
{
  __disable_irq();
  while (1)
  {
  }
}
